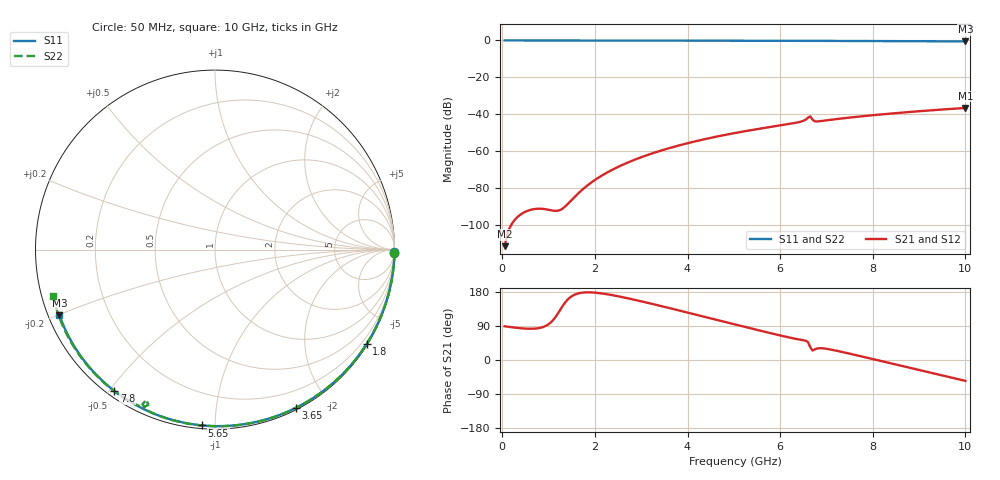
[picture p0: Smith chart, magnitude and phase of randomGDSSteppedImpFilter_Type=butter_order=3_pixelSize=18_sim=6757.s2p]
! freq	dB(S11)	phase(S11)	dB(S12)	phase(S12)
!  dB(S21)	phase(S21)	dB(S22)	phase(S22)
!S-par simulation data
#  GHz  S  DB  R 50
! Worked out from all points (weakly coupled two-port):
!   200 points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, 50 MHz to 10 GHz, reference 50 ohm
!   highest |S21| = -36.49 dB at 10 GHz (marker M1); lowest = -111.2 dB at 50 MHz (marker M2)
!   lowest |S11| = -0.5 dB at 10 GHz (marker M3), VSWR 32.73, Z = 1.59 - j10.1 ohm
!   |S11| at or under -10 dB: nowhere
!   |S22| runs from -0.7 to 0.0 dB; largest |S21 - S12| = 0
!   S11 on the Smith chart (normalised r, x): 50 MHz: open; 1.8 GHz: 0.03, -3.50; 3.65 GHz: 0.02, -1.63; 5.65 GHz: 0.02, -0.93; 7.8 GHz: 0.02, -0.52; 10 GHz: 0.03, -0.20
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0.05  -0.00 -0.9  -111.19 89.1  -111.19 89.1  -0.00 -1.0
0.85  -0.02 -15.2  -90.98 85.9  -90.98 85.9  -0.02 -16.1
1.75  -0.04 -31.0  -80.16 178.0  -80.16 178.0  -0.04 -32.8
1.8  -0.04 -31.9  -79.12 178.5  -79.12 178.5  -0.04 -33.7
2.1  -0.05 -37.1  -73.79 176.5  -73.79 176.5  -0.05 -39.2
2.45  -0.06 -43.1  -68.95 169.4  -68.95 169.4  -0.06 -45.5
2.9  -0.07 -50.7  -64.06 157.7  -64.06 157.7  -0.07 -53.5
3.4  -0.08 -58.9  -59.73 143.2  -59.73 143.2  -0.08 -62.1
3.65  -0.09 -63.0  -57.88 135.8  -57.88 135.8  -0.09 -66.4
4.3  -0.10 -73.4  -53.75 116.0  -53.75 116.0  -0.11 -77.3
5.05  -0.13 -85.1  -49.91 93.1  -49.91 93.1  -0.14 -89.5
5.65  -0.16 -94.2  -47.32 75.0  -47.32 75.0  -0.16 -99.0
6.4  -0.20 -105.3  -44.18 54.3  -44.18 54.3  -0.22 -110.9
6.5  -0.20 -106.7  -43.45 52.3  -43.45 52.3  -0.25 -112.8
6.6  -0.21 -108.2  -41.79 47.4  -41.79 47.4  -0.44 -115.1
6.65  -0.21 -108.9  -41.02 33.7  -41.02 33.7  -0.73 -114.6
6.7  -0.21 -109.6  -42.84 24.8  -42.84 24.8  -0.52 -113.2
6.8  -0.22 -111.1  -43.80 30.5  -43.80 30.5  -0.30 -115.3
7.8  -0.29 -125.4  -40.90 8.2  -40.90 8.2  -0.31 -131.0
8.35  -0.34 -133.3  -39.60 -7.6  -39.60 -7.6  -0.36 -139.2
9.2  -0.43 -145.4  -37.87 -32.1  -37.87 -32.1  -0.45 -151.9
10  -0.53 -157.1  -36.49 -55.1  -36.49 -55.1  -0.55 -164.2
